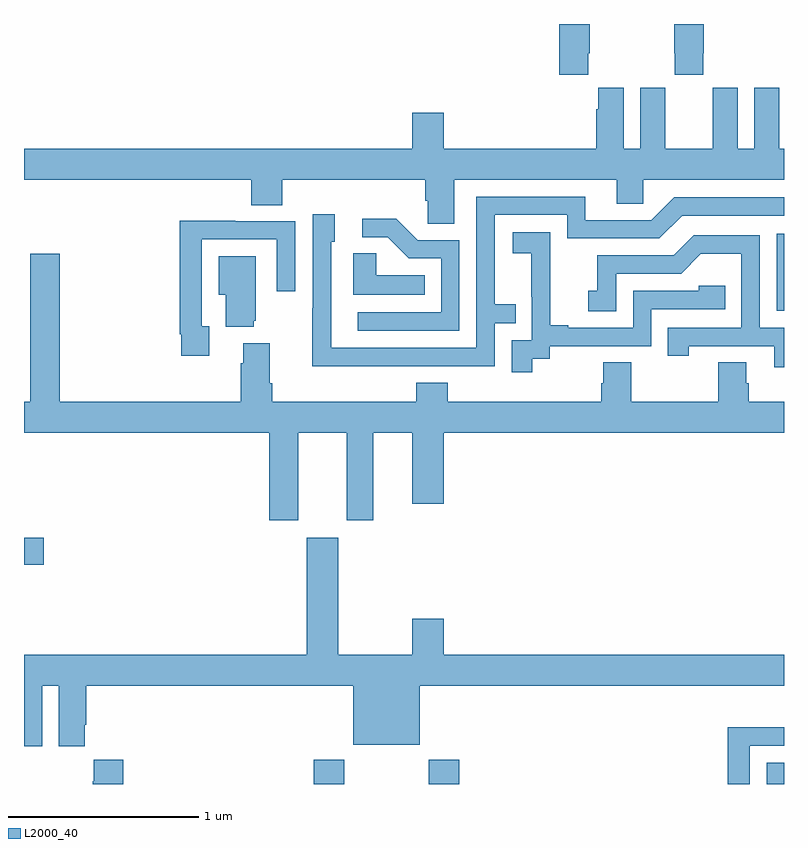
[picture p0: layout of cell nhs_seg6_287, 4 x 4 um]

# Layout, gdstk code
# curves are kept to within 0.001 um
import gdstk
lib = gdstk.Library(unit=1e-6, precision=1e-09)
def R(c, l, rs):  # rectangles x0, y0, x1, y1
    for r in rs: c.add(gdstk.rectangle(r[:2], r[2:], *l))
def P(c, l, *ps):  # polygons
    for p in ps: c.add(gdstk.Polygon(p, *l))
L2000_40 = (2000, 40)

nhs_seg6_287 = lib.new_cell('nhs_seg6_287')
R(nhs_seg6_287, L2000_40, [(128.525,933.5,128.685,933.628), (129.13,933.5,129.29,933.628), (130.91,933.5,131,933.613), (127,934.654,127.105,934.796), (130.962,935.991,131,936.397)])
P(nhs_seg6_287, L2000_40, [(130.575,937.345),(130.578,937.345),(130.578,937.5),(130.423,937.5),(130.423,937.345),(130.425,937.345),(130.425,937.233),(130.575,937.233)],
  [(129.971,937.345),(129.977,937.345),(129.977,937.5),(129.818,937.5),(129.818,937.233),(129.971,937.233)],
  [(129.265,936.68),(130.121,936.68),(130.121,936.553),(130.26,936.553),(130.26,936.68),(131,936.68),(131,936.844),(130.975,936.844),(130.975,937.052),(130.974,937.052),(130.974,937.165),(130.844,937.165),(130.844,936.844),(130.756,936.844),(130.756,937.165),(130.626,937.165),(130.626,937.052),(130.625,937.052),(130.625,936.844),(130.375,936.844),(130.375,937.052),(130.374,937.052),(130.374,937.165),(130.244,937.165),(130.244,936.844),(130.156,936.844),(130.156,937.165),(130.022,937.165),(130.022,937.052),(130.013,937.052),(130.013,936.844),(129.208,936.844),(129.208,937.033),(129.044,937.033),(129.044,936.844),(127,936.844),(127,936.68),(128.195,936.68),(128.195,936.547),(128.36,936.547),(128.36,936.68),(129.113,936.68),(129.113,936.571),(129.126,936.571),(129.126,936.448),(129.265,936.448)],
  [(128.981,935.7),(129.477,935.7),(129.477,935.925),(129.587,935.925),(129.587,936.026),(129.477,936.026),(129.477,936.495),(129.858,936.495),(129.858,936.372),(130.344,936.372),(130.464,936.492),(131,936.492),(131,936.588),(130.422,936.588),(130.302,936.468),(129.955,936.468),(129.955,936.591),(129.381,936.591),(129.381,935.796),(128.616,935.796),(128.616,936.354),(128.635,936.354),(128.635,936.499),(128.52,936.499),(128.52,936.005),(128.518,936.005),(128.518,935.699)],
  [(129.291,936.363),(129.072,936.363),(128.959,936.476),(128.781,936.476),(128.781,936.378),(128.915,936.378),(129.026,936.267),(129.195,936.267),(129.195,935.982),(128.757,935.982),(128.757,935.886),(129.291,935.886)],
  [(127.975,935.91),(127.935,935.91),(127.935,936.366),(128.331,936.366),(128.331,936.093),(128.427,936.093),(128.427,936.462),(128.111,936.462),(128.111,936.464),(127.819,936.464),(127.819,935.866),(127.827,935.866),(127.827,935.754),(127.975,935.754)],
  [(129.676,935.737),(129.768,935.737),(129.768,935.805),(130.302,935.805),(130.302,936),(130.691,936),(130.691,936.123),(130.551,936.123),(130.551,936.096),(130.206,936.096),(130.206,935.901),(129.865,935.901),(129.865,935.914),(129.77,935.914),(129.77,936.197),(129.771,936.197),(129.771,936.403),(129.573,936.403),(129.573,936.293),(129.671,936.293),(129.671,936.065),(129.672,936.065),(129.672,935.835),(129.567,935.835),(129.567,935.667),(129.676,935.667)],
  [(131,935.901),(130.872,935.901),(130.872,936.387),(130.526,936.387),(130.421,936.282),(130.018,936.282),(130.018,936.097),(129.969,936.097),(129.969,935.988),(130.116,935.988),(130.116,936.186),(130.458,936.186),(130.562,936.29),(130.776,936.29),(130.776,935.901),(130.387,935.901),(130.387,935.754),(130.498,935.754),(130.498,935.805),(130.949,935.805),(130.949,935.694),(131,935.694)],
  [(129.11,936.178),(128.853,936.178),(128.853,936.293),(128.732,936.293),(128.732,936.074),(129.11,936.074)],
  [(131,935.512),(130.814,935.512),(130.814,935.61),(130.801,935.61),(130.801,935.72),(130.654,935.72),(130.654,935.512),(130.197,935.512),(130.197,935.72),(130.049,935.72),(130.049,935.61),(130.037,935.61),(130.037,935.512),(129.23,935.512),(129.23,935.611),(129.065,935.611),(129.065,935.512),(128.306,935.512),(128.306,935.608),(128.293,935.608),(128.293,935.821),(128.153,935.821),(128.153,935.714),(128.141,935.714),(128.141,935.512),(127.187,935.512),(127.187,936.291),(127.034,936.291),(127.034,935.512),(127,935.512),(127,935.348),(128.291,935.348),(128.291,934.887),(128.443,934.887),(128.443,935.348),(128.699,935.348),(128.699,934.887),(128.839,934.887),(128.839,935.348),(129.044,935.348),(129.044,934.974),(129.208,934.974),(129.208,935.348),(131,935.348)],
  [(128.21,935.937),(128.221,935.937),(128.221,936.277),(128.024,936.277),(128.024,936.074),(128.063,936.074),(128.063,935.906),(128.21,935.906)],
  [(127.096,934.016),(127.184,934.016),(127.184,933.699),(127.321,933.699),(127.321,933.811),(127.328,933.811),(127.328,934.016),(128.732,934.016),(128.732,933.707),(129.082,933.707),(129.082,934.016),(131,934.016),(131,934.18),(129.208,934.18),(129.208,934.369),(129.044,934.369),(129.044,934.18),(128.653,934.18),(128.653,934.795),(128.489,934.795),(128.489,934.18),(127,934.18),(127,933.699),(127.096,933.699)],
  [(130.821,933.702),(131,933.702),(131,933.798),(130.997,933.798),(130.997,933.8),(130.705,933.8),(130.705,933.5),(130.821,933.5)],
  [(127.523,933.628),(127.367,933.628),(127.367,933.515),(127.363,933.515),(127.363,933.5),(127.523,933.5)])

lib.write_gds('nhs_seg6_287.gds')
